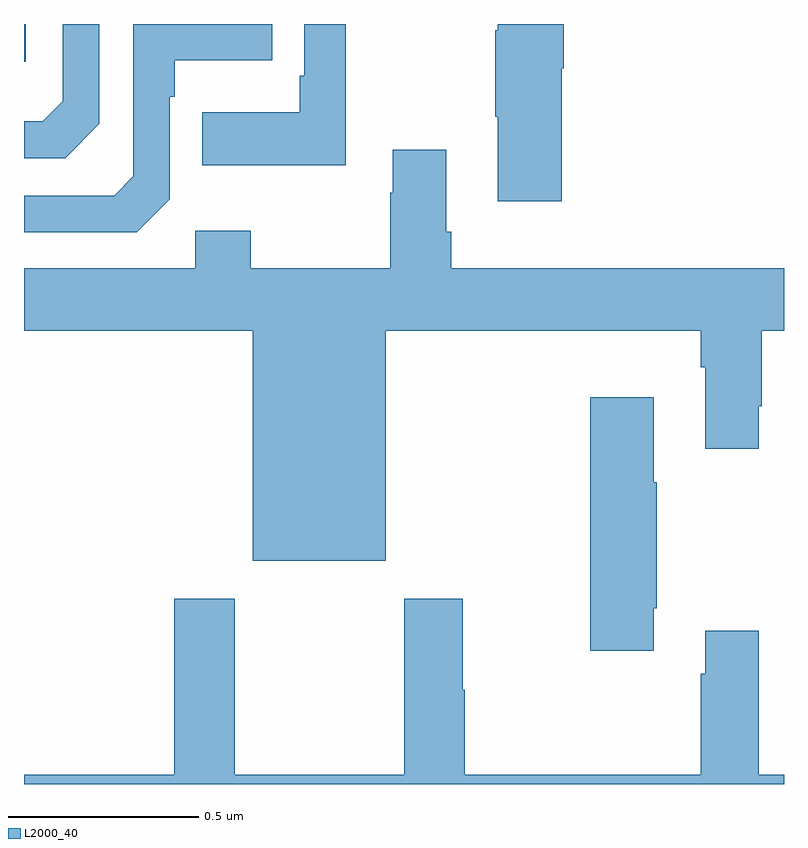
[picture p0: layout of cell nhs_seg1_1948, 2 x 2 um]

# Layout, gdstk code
import gdstk
lib = gdstk.Library(unit=1e-6, precision=1e-09)
def R(c, l, rs):  # rectangles x0, y0, x1, y1
    for r in rs: c.add(gdstk.rectangle(r[:2], r[2:], *l))
def P(c, l, *ps):  # polygons
    for p in ps: c.add(gdstk.Polygon(p, *l))
L2000_40 = (2000, 40)

nhs_seg1_1948 = lib.new_cell('nhs_seg1_1948')
R(nhs_seg1_1948, L2000_40, [(135,559.1,135.004,559.199)])
P(nhs_seg1_1948, L2000_40, [(135.384,558.738),(135.384,559.007),(135.397,559.007),(135.397,559.103),(135.653,559.103),(135.653,559.199),(135.288,559.199),(135.288,558.798),(135.237,558.747),(135,558.747),(135,558.651),(135.297,558.651)],
  [(135.847,559.199),(135.738,559.199),(135.738,559.063),(135.726,559.063),(135.726,558.967),(135.469,558.967),(135.469,558.827),(135.847,558.827)],
  [(136.415,559.083),(136.42,559.083),(136.42,559.199),(136.247,559.199),(136.247,559.183),(136.24,559.183),(136.24,558.955),(136.247,558.955),(136.247,558.732),(136.415,558.732)],
  [(135.198,558.936),(135.198,559.199),(135.102,559.199),(135.102,558.996),(135.049,558.943),(135,558.943),(135,558.846),(135.108,558.846)],
  [(135.952,558.392),(136.781,558.392),(136.781,558.296),(136.793,558.296),(136.793,558.081),(136.933,558.081),(136.933,558.193),(136.941,558.193),(136.941,558.392),(137,558.392),(137,558.556),(136.124,558.556),(136.124,558.652),(136.111,558.652),(136.111,558.868),(135.971,558.868),(135.971,558.755),(135.964,558.755),(135.964,558.556),(135.597,558.556),(135.597,558.655),(135.45,558.655),(135.45,558.556),(135,558.556),(135,558.392),(135.602,558.392),(135.602,557.786),(135.952,557.786)],
  [(136.657,557.662),(136.665,557.662),(136.665,557.993),(136.657,557.993),(136.657,558.217),(136.49,558.217),(136.49,557.55),(136.657,557.55)],
  [(137,557.224),(136.933,557.224),(136.933,557.602),(136.793,557.602),(136.793,557.489),(136.781,557.489),(136.781,557.224),(136.16,557.224),(136.16,557.447),(136.155,557.447),(136.155,557.686),(136,557.686),(136,557.224),(135.555,557.224),(135.555,557.686),(135.395,557.686),(135.395,557.224),(135,557.224),(135,557.199),(137,557.199)])

lib.write_gds('nhs_seg1_1948.gds')
